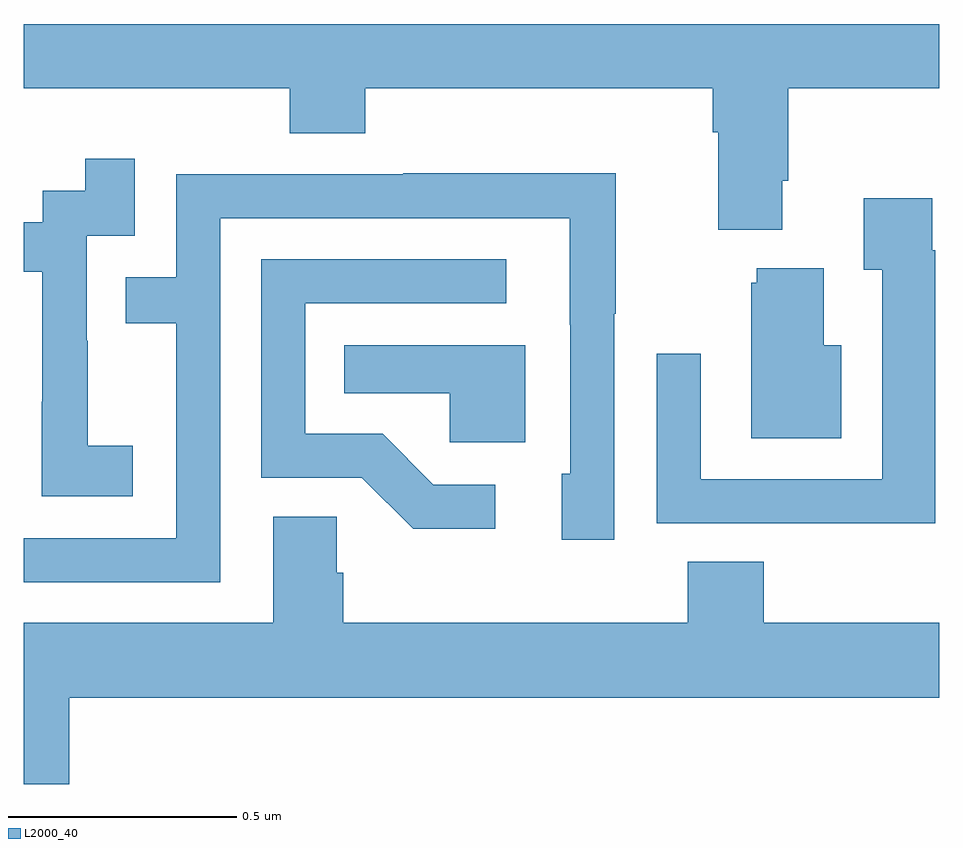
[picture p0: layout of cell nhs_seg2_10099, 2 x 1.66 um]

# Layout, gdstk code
import gdstk
lib = gdstk.Library(unit=1e-6, precision=1e-09)
def P(c, l, *ps):  # polygons
    for p in ps: c.add(gdstk.Polygon(p, *l))
L2000_40 = (2000, 40)

nhs_seg2_10099 = lib.new_cell('nhs_seg2_10099')
P(nhs_seg2_10099, L2000_40, [(238.657,623.458),(238.67,623.458),(238.67,623.66),(239,623.66),(239,623.8),(237,623.8),(237,623.66),(237.581,623.66),(237.581,623.561),(237.746,623.561),(237.746,623.66),(238.505,623.66),(238.505,623.564),(238.517,623.564),(238.517,623.351),(238.657,623.351)],
  [(237.238,622.879),(237.14,622.879),(237.14,623.108),(237.138,623.108),(237.138,623.337),(237.243,623.337),(237.243,623.506),(237.135,623.506),(237.135,623.436),(237.042,623.436),(237.042,623.367),(237,623.367),(237,623.259),(237.041,623.259),(237.041,622.975),(237.04,622.975),(237.04,622.769),(237.238,622.769)],
  [(237.429,623.376),(238.193,623.376),(238.193,623.143),(238.194,623.143),(238.194,622.818),(238.175,622.818),(238.175,622.674),(238.29,622.674),(238.29,623.167),(238.293,623.167),(238.293,623.474),(237.829,623.474),(237.829,623.472),(237.333,623.472),(237.333,623.247),(237.223,623.247),(237.223,623.146),(237.333,623.146),(237.333,622.677),(237,622.677),(237,622.581),(237.429,622.581)],
  [(238.991,623.306),(238.984,623.306),(238.984,623.419),(238.835,623.419),(238.835,623.263),(238.875,623.263),(238.875,622.806),(238.479,622.806),(238.479,623.08),(238.383,623.08),(238.383,622.71),(238.699,622.71),(238.699,622.709),(238.991,622.709)],
  [(238.03,622.794),(237.895,622.794),(237.784,622.905),(237.615,622.905),(237.615,623.19),(238.054,623.19),(238.054,623.286),(237.519,623.286),(237.519,622.809),(237.738,622.809),(237.851,622.697),(238.03,622.697)],
  [(238.786,623.098),(238.747,623.098),(238.747,623.266),(238.601,623.266),(238.601,623.235),(238.589,623.235),(238.589,622.895),(238.786,622.895)],
  [(238.096,623.098),(237.7,623.098),(237.7,622.994),(237.931,622.994),(237.931,622.886),(238.096,622.886)],
  [(237.1,622.328),(239,622.328),(239,622.492),(238.616,622.492),(238.616,622.625),(238.451,622.625),(238.451,622.492),(237.698,622.492),(237.698,622.601),(237.684,622.601),(237.684,622.724),(237.545,622.724),(237.545,622.492),(237,622.492),(237,622.14),(237.1,622.14)])

lib.write_gds('nhs_seg2_10099.gds')
